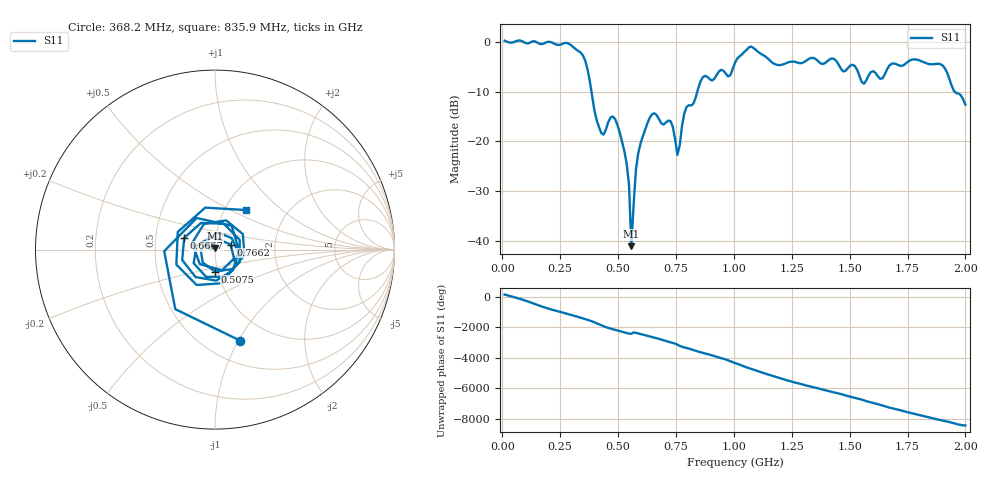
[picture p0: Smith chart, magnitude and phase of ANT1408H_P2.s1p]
!Created with skrf (http://scikit-rf.org).
# Hz S RI R 50.0
!freq ReS11 ImS11
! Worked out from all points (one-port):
!   201 points, 10 MHz to 2 GHz, reference 50 ohm
!   lowest |S11| = -41.0 dB at 557.2 MHz (marker M1), VSWR 1.02, Z = 50 + j0.896 ohm
!   |S11| at or under -10 dB: 384.9 MHz to 842.4 MHz (457.5 MHz wide, 74.6 % of centre); 1.954 GHz to end of sweep
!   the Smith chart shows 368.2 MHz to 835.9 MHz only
!   S11 on the Smith chart (normalised r, x): 368.2 MHz: 0.73, -1.02; 507.5 MHz: 0.97, -0.24; 666.7 MHz: 0.70, +0.09; 766.2 MHz: 1.19, +0.07; 835.9 MHz: 1.25, +0.60
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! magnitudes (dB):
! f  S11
! 10 MHz  0.2
! 258.8 MHz  -0.5
! 338.4 MHz  -2.2
! 368.2 MHz  -5.6
! 427.9 MHz  -18.3
! 477.6 MHz  -15.0
! 507.5 MHz  -18.2
! 547.3 MHz  -28.7
! 557.2 MHz  -41.0
! 577.1 MHz  -25.7
! 587.1 MHz  -22.4
! 636.9 MHz  -15.2
! 666.7 MHz  -14.7
! 726.4 MHz  -15.9
! 756.2 MHz  -22.7
! 766.2 MHz  -20.8
! 786.1 MHz  -14.4
! 835.9 MHz  -11.1
! 865.7 MHz  -7.1
! 975.1 MHz  -7.0
! 1.005 GHz  -4.2
! 1.075 GHz  -1.0
! 1.254 GHz  -4.0
! 1.502 GHz  -4.8
! 1.562 GHz  -8.4
! 1.751 GHz  -4.1
! 1.901 GHz  -4.7
! 2 GHz  -12.6
